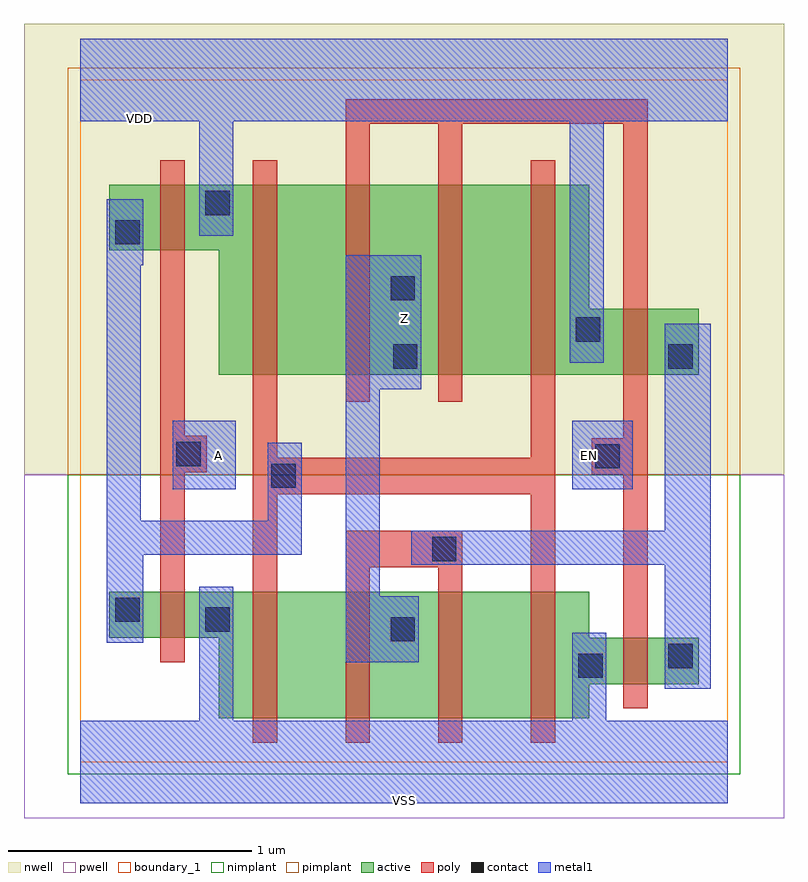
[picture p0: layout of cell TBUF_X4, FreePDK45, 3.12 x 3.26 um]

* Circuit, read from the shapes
.subckt TBUF_X4 A EN VDD VSS Z
M1 VSS A n1 VSUBS nfet w=0.19u l=0.1u
M2 n2 n1 VSS VSUBS nfet w=0.52u l=0.1u
M3 Z n3 n2 VSUBS nfet w=0.52u l=0.1u
M4 n4 n3 Z VSUBS nfet w=0.52u l=0.1u
M5 VSS n1 n4 VSUBS nfet w=0.52u l=0.1u
M6 n3 EN VSS VSUBS nfet w=0.19u l=0.1u
M7 VDD A n1 n5 pfet w=0.27u l=0.1u
M8 n6 n1 VDD n5 pfet w=0.78u l=0.1u
M9 Z EN n6 n5 pfet w=0.78u l=0.1u
M10 n7 EN Z n5 pfet w=0.78u l=0.1u
M11 VDD n1 n7 n5 pfet w=0.78u l=0.1u
M12 n3 EN VDD n5 pfet w=0.27u l=0.1u
.ends

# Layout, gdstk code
import gdstk
lib = gdstk.Library(unit=1e-6, precision=1e-09)
def R(c, l, rs):  # rectangles x0, y0, x1, y1
    for r in rs: c.add(gdstk.rectangle(r[:2], r[2:], *l))
def P(c, l, *ps):  # polygons
    for p in ps: c.add(gdstk.Polygon(p, *l))
active = (1, 0)
pwell = (2, 0)
nwell = (3, 0)
nimplant = (4, 0)
pimplant = (5, 0)
poly = (9, 0)
contact = (10, 0)
metal1 = (11, 0)
boundary_1 = (235, 1)

tbuf_x4 = lib.new_cell('TBUF_X4')
P(tbuf_x4, active, [(0.12,2.1),(0.57,2.1),(0.57,1.59),(2.54,1.59),(2.54,1.86),(2.09,1.86),(2.09,2.37),(0.12,2.37)],
  [(0.12,0.51),(0.57,0.51),(0.57,0.18),(2.09,0.18),(2.09,0.32),(2.54,0.32),(2.54,0.51),(2.09,0.51),(2.09,0.7),(0.12,0.7)])
R(tbuf_x4, pwell, [(-0.23,-0.23,2.89,1.18)])
R(tbuf_x4, nwell, [(-0.23,1.18,2.89,3.03)])
R(tbuf_x4, nimplant, [(-0.05,-0.05,2.71,1.18)])
R(tbuf_x4, pimplant, [(-0.05,1.18,2.71,2.85)])
P(tbuf_x4, poly, [(1.09,1.48),(1.19,1.48),(1.19,2.62),(1.47,2.62),(1.47,1.48),(1.57,1.48),(1.57,2.62),(2.23,2.62),(2.23,1.33),(2.1,1.33),(2.1,1.18),(2.23,1.18),(2.23,0.22),(2.33,0.22),(2.33,2.72),(1.09,2.72)],
  [(0.71,0.08),(0.81,0.08),(0.81,1.1),(1.85,1.1),(1.85,0.08),(1.95,0.08),(1.95,2.47),(1.85,2.47),(1.85,1.25),(0.81,1.25),(0.81,2.47),(0.71,2.47)],
  [(1.09,0.08),(1.19,0.08),(1.19,0.8),(1.47,0.8),(1.47,0.08),(1.57,0.08),(1.57,0.95),(1.09,0.95)],
  [(0.33,0.41),(0.43,0.41),(0.43,1.19),(0.52,1.19),(0.52,1.34),(0.43,1.34),(0.43,2.47),(0.33,2.47)])
R(tbuf_x4, contact, [(2.045,0.345,2.145,0.445), (2.415,0.385,2.515,0.485), (1.275,0.495,1.375,0.595), (0.515,0.535,0.615,0.635), (0.145,0.575,0.245,0.675), (1.445,0.825,1.545,0.925), (0.785,1.125,0.885,1.225), (2.115,1.205,2.215,1.305), (0.395,1.215,0.495,1.315), (1.285,1.615,1.385,1.715), (2.415,1.615,2.515,1.715), (2.035,1.725,2.135,1.825), (1.275,1.895,1.375,1.995), (0.145,2.125,0.245,2.225), (0.515,2.245,0.615,2.345)])
R(tbuf_x4, metal1, [(0.38,1.12,0.64,1.4), (0.38,1.12,0.64,1.4), (2.02,1.12,2.27,1.4), (2.02,1.12,2.27,1.4)])
P(tbuf_x4, metal1, [(0,-0.17),(2.66,-0.17),(2.66,0.17),(2.16,0.17),(2.16,0.53),(2.02,0.53),(2.02,0.17),(0.63,0.17),(0.63,0.72),(0.49,0.72),(0.49,0.17),(0,0.17)],
  [(0,2.63),(0.49,2.63),(0.49,2.16),(0.63,2.16),(0.63,2.63),(2.01,2.63),(2.01,1.64),(2.15,1.64),(2.15,2.63),(2.66,2.63),(2.66,2.97),(0,2.97)],
  [(1.23,1.53),(1.4,1.53),(1.4,2.08),(1.09,2.08),(1.09,0.41),(1.39,0.41),(1.39,0.68),(1.23,0.68)],
  [(0,2.63),(0.49,2.63),(0.49,2.16),(0.63,2.16),(0.63,2.63),(2.01,2.63),(2.01,1.64),(2.15,1.64),(2.15,2.63),(2.66,2.63),(2.66,2.97),(0,2.97)],
  [(0,-0.17),(2.66,-0.17),(2.66,0.17),(2.16,0.17),(2.16,0.53),(2.02,0.53),(2.02,0.17),(0.63,0.17),(0.63,0.72),(0.49,0.72),(0.49,0.17),(0,0.17)],
  [(1.36,0.81),(2.4,0.81),(2.4,0.3),(2.59,0.3),(2.59,1.8),(2.4,1.8),(2.4,0.95),(1.36,0.95)],
  [(1.23,1.53),(1.4,1.53),(1.4,2.08),(1.09,2.08),(1.09,0.41),(1.39,0.41),(1.39,0.68),(1.23,0.68)],
  [(0.11,0.49),(0.26,0.49),(0.26,0.85),(0.91,0.85),(0.91,1.31),(0.77,1.31),(0.77,0.99),(0.25,0.99),(0.25,2.04),(0.26,2.04),(0.26,2.31),(0.11,2.31)])
R(tbuf_x4, boundary_1, [(0,0,2.66,2.8)])
tbuf_x4.add(gdstk.Label('Z', (1.33,1.82), layer=11, texttype=0))
tbuf_x4.add(gdstk.Label('VSS', (1.33,-0.16), layer=11, texttype=0))
tbuf_x4.add(gdstk.Label('VDD', (0.245,2.64), layer=11, texttype=0))
tbuf_x4.add(gdstk.Label('EN', (2.09,1.26), layer=11, texttype=0))
tbuf_x4.add(gdstk.Label('A', (0.57,1.26), layer=11, texttype=0))

lib.write_gds('TBUF_X4.gds')
